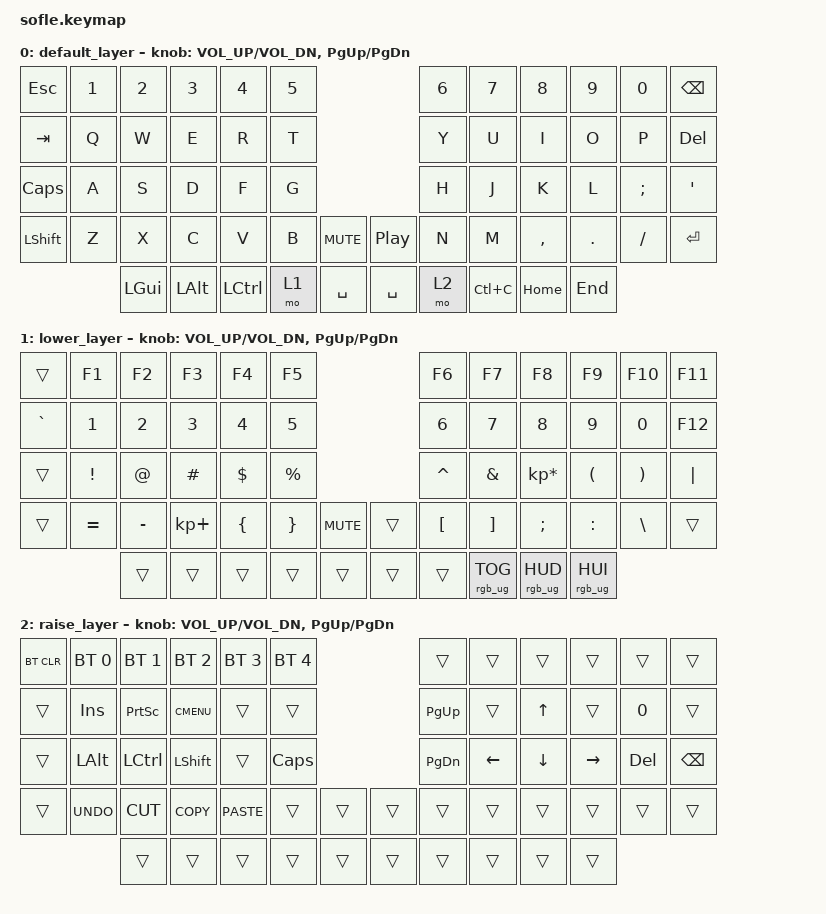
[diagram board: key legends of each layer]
/*
 * Copyright (c) 2020 The ZMK Contributors
 *
 * SPDX-License-Identifier: MIT
 */

#include <behaviors.dtsi>
#include <dt-bindings/zmk/keys.h>
#include <dt-bindings/zmk/bt.h>
#include <dt-bindings/zmk/rgb.h>

/ {
    keymap {
        compatible = "zmk,keymap";

        default_layer {
// ------------------------------------------------------------------------------------------------------------
// | CAPS  |  1  |  2  |  3   |  4   |  5   |                     |  6   |  7    |  8    |  9   |   0   | BKSPC |
// |  ESC  |  Q  |  W  |  E   |  R   |  T   |                     |  Y   |  U    |  I    |  O   |   P   | DEL   |
// |  TAB  |  A  |  S  |  D   |  F   |  G   |                     |  H   |  J    |  K    |  L   |   ;   |   '   |
// | SHIFT |  Z  |  X  |  C   |  V   |  B   |  MUTE  |    |       |  N   |  M    |  ,    |  .   |   /   | ENTER |
//               | GUI | ALT  | CTRL | LOWER|  SPACE |    | SPACE | RAISE| COPY  | HOME  | END  |
            bindings = <
&kp ESC   &kp N1 &kp N2    &kp N3   &kp N4    &kp N5                       &kp N6 &kp N7    &kp N8    &kp N9   &kp N0   &kp BSPC
&kp TAB   &kp Q  &kp W     &kp E    &kp R     &kp T                        &kp Y  &kp U     &kp I     &kp O    &kp P    &kp DEL
&kp CLCK  &kp A  &kp S     &kp D    &kp F     &kp G                        &kp H  &kp J     &kp K     &kp L    &kp SEMI &kp SQT
&kp LSHFT &kp Z  &kp X     &kp C    &kp V     &kp B  &kp C_MUTE  &kp C_PP  &kp N  &kp M     &kp COMMA &kp DOT  &kp FSLH &kp RET
                 &kp LGUI  &kp LALT &kp LCTRL &mo 1  &kp SPACE   &kp SPACE &mo 2  &kp LC(C) &kp HOME  &kp END
            >;
            sensor-bindings = <&inc_dec_kp C_VOL_UP C_VOL_DN &inc_dec_kp PG_UP PG_DN>;
        };

        lower_layer {
// TODO: Some binds are waiting for shifted keycode support.
// ------------------------------------------------------------------------------------------------------------
// |       |  F1 |  F2 |  F3  |  F4  |  F5  |                   |  F6  |  F7  |  F8   |  F9  |  F10  |  F11  |
// | `     |   1 |   2 |   3  |   4  |   5  |                   |   6  |   7  |   8   |   9  |    0  |  F12  |
// |       |  !  |  @  |  #   |  $   |  %   |                   |  ^   |  &   |  *    |  (   |   )   |   |   |
// |       |  =  |  -  |  +   |  {   |  }   |        |  |       |  [   |  ]   |  ;    |  :   |   \   |       |
//               |     |      |      |      |        |  |       |      | MUTE |VOL_DWN|VOL_UP|
            bindings = <
&trans    &kp F1    &kp F2    &kp F3      &kp F4    &kp F5                        &kp F6    &kp F7          &kp F8          &kp F9    &kp F10   &kp F11
&kp GRAVE &kp N1    &kp N2    &kp N3      &kp N4    &kp N5                        &kp N6    &kp N7          &kp N8          &kp N9    &kp N0    &kp F12
&trans    &kp EXCL  &kp AT    &kp HASH    &kp DLLR  &kp PRCNT                     &kp CARET &kp AMPS        &kp KP_MULTIPLY &kp LPAR  &kp RPAR  &kp PIPE
&trans    &kp EQUAL &kp MINUS &kp KP_PLUS &kp LBRC  &kp RBRC  &kp C_MUTE   &trans &kp LBKT  &kp RBKT        &kp SEMI        &kp COLON &kp BSLH  &trans
                    &trans    &trans      &trans    &trans    &trans       &trans &trans    &rgb_ug RGB_TOG &rgb_ug RGB_HUD &rgb_ug RGB_HUI
            >;

            sensor-bindings = <&inc_dec_kp C_VOL_UP C_VOL_DN &inc_dec_kp PG_UP PG_DN>;
        };

        raise_layer {
// ------------------------------------------------------------------------------------------------------------
// |BTCLR| BT1  | BT2  |  BT3  |  BT4  |  BT5 |                |      |      |       |      |       |       |
// |     | INS  | PSCR | GUI   |       |      |                | PGUP |      |   ^   |      |       |       |
// |     | ALT  | CTRL | SHIFT |       | CAPS |                | PGDN |   <- |   v   |  ->  |  DEL  | BKSPC |
// |     | UNDO | CUT  | COPY  | PASTE |      |      |  |      |      |      |       |      |       |       |
//              |      |       |       |      |      |  |      |      |      |       |      |
            bindings = <
&bt BT_CLR &bt BT_SEL 0 &bt BT_SEL 1 &bt BT_SEL 2 &bt BT_SEL 3 &bt BT_SEL 4             &trans    &trans    &trans   &trans    &trans  &trans
&trans     &kp INS      &kp PSCRN    &kp K_CMENU  &trans       &trans                   &kp PG_UP &trans    &kp UP   &trans    &kp N0  &trans
&trans     &kp LALT     &kp LCTRL    &kp LSHFT    &trans       &kp CLCK                 &kp PG_DN &kp LEFT  &kp DOWN &kp RIGHT &kp DEL &kp BSPC
&trans     &kp K_UNDO   &kp K_CUT    &kp K_COPY   &kp K_PASTE  &trans  &trans   &trans  &trans    &trans    &trans   &trans    &trans  &trans
                        &trans       &trans       &trans       &trans  &trans   &trans  &trans    &trans    &trans   &trans
            >;

            sensor-bindings = <&inc_dec_kp C_VOL_UP C_VOL_DN &inc_dec_kp PG_UP PG_DN>;
        };
    };
};
